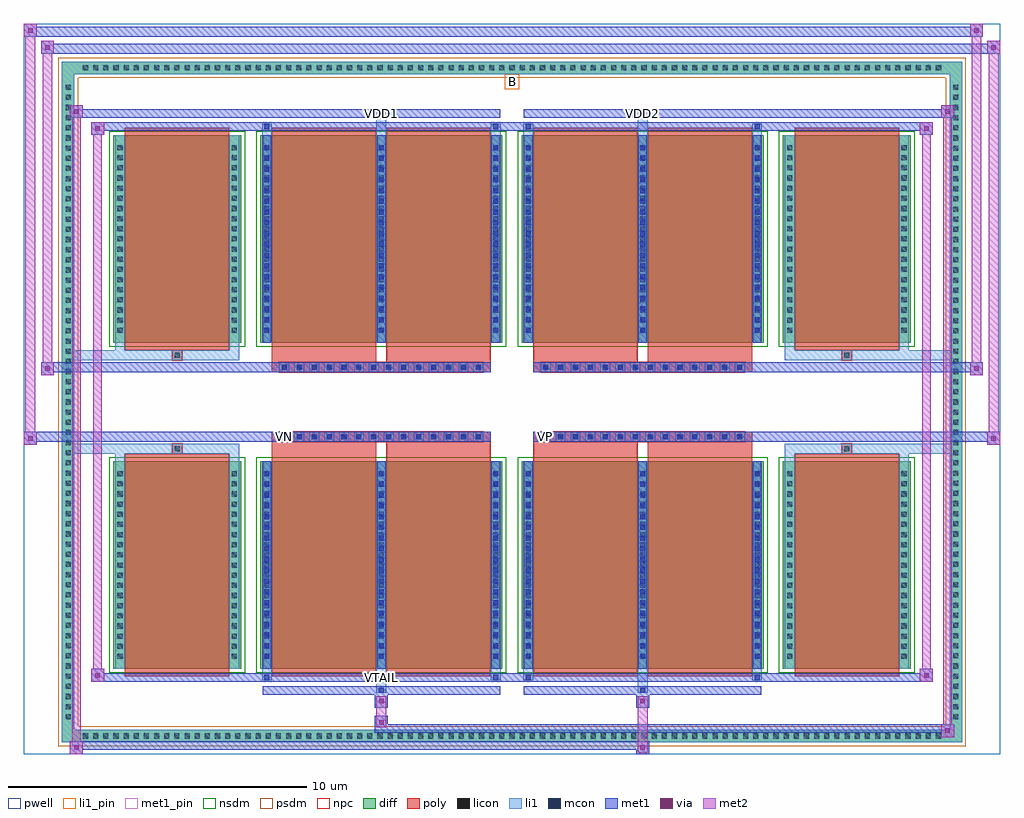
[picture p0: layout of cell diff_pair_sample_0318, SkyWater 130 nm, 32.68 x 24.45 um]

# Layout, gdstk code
import gdstk
lib = gdstk.Library(unit=1e-6, precision=5e-09)
def R(c, l, rs):  # rectangles x0, y0, x1, y1
    for r in rs: c.add(gdstk.rectangle(r[:2], r[2:], *l))
def A(c, l, x, y, w, h, nx, ny, dx, dy):  # array of equal rectangles
    R(c, l, [(x+i*dx, y+j*dy, x+i*dx+w, y+j*dy+h) for i in range(nx) for j in range(ny)])
def P(c, l, *ps):  # polygons
    for p in ps: c.add(gdstk.Polygon(p, *l))
pwell = (64, 44)
diff = (65, 20)
poly = (66, 20)
licon = (66, 44)
li1_pin = (67, 16)
li1 = (67, 20)
mcon = (67, 44)
met1_pin = (68, 16)
met1 = (68, 20)
via = (68, 44)
met2 = (69, 20)
nsdm = (93, 44)
psdm = (94, 20)
npc = (95, 20)

diff_pair_sample_0318 = lib.new_cell('diff_pair_sample_0318')
R(diff_pair_sample_0318, pwell, [(-16.34,-11.79,16.34,12.66), (-13.66,-9.98,-0.01,-0.8), (0.01,-9.98,13.66,-0.8), (-13.66,0.8,-0.01,9.98), (0.01,0.8,13.66,9.98)])
A(diff_pair_sample_0318, diff, -14.485, -11.39, 0.41, 0.41, 85, 2, 0.34, 22.37)
A(diff_pair_sample_0318, diff, -15.07, -10.745, 0.41, 0.41, 1, 63, 0, 0.34)
A(diff_pair_sample_0318, diff, 14.66, -10.745, 0.41, 0.41, 1, 63, 0, 0.34)
R(diff_pair_sample_0318, diff, [(-14.485,-11.39,14.485,-10.98), (-15.07,-10.745,-14.66,10.745), (14.66,-10.745,15.07,10.745), (-13.35,-8.935,-9.07,-1.985), (-8.43,-8.935,-0.32,-1.985), (0.32,-8.935,8.43,-1.985), (9.07,-8.935,13.35,-1.985), (-13.35,1.985,-9.07,8.935), (-8.43,1.985,-0.32,8.935), (0.32,1.985,8.43,8.935), (9.07,1.985,13.35,8.935), (-14.485,10.98,14.485,11.39)])
P(diff_pair_sample_0318, diff, [(15.07,11.39),(-15.07,11.39),(-15.07,-10.98),(-14.66,-10.98),(-14.66,10.98),(14.66,10.98),(14.66,-10.98),(-14.66,-10.98),(-15.07,-10.98),(-15.07,-11.39),(15.07,-11.39)])
A(diff_pair_sample_0318, poly, -7.79, -1.33, 0.33, 0.33, 14, 2, 0.5, 2.33)
A(diff_pair_sample_0318, poly, 0.96, -1.33, 0.33, 0.33, 14, 2, 0.5, 2.33)
R(diff_pair_sample_0318, poly, [(-12.96,-9.185,-9.46,-1.735), (-8.04,-9.185,-4.54,-1.735), (-4.21,-9.185,-0.71,-1.735), (0.71,-9.185,4.21,-1.735), (4.54,-9.185,8.04,-1.735), (9.46,-9.185,12.96,-1.735), (-11.375,-1.735,-11.045,-1.405), (-11.375,-1.735,-11.045,-1.405), (-8.04,-1.735,-4.54,-1.33), (-4.21,-1.735,-0.71,-1.33), (0.71,-1.735,4.21,-1.33), (4.54,-1.735,8.04,-1.33), (11.045,-1.735,11.375,-1.405), (11.045,-1.735,11.375,-1.405), (-8.04,-1.33,-0.71,-1), (0.71,-1.33,8.04,-1), (-8.04,1,-0.71,1.33), (0.71,1,8.04,1.33), (-8.04,1.33,-4.54,1.735), (-4.21,1.33,-0.71,1.735), (0.71,1.33,4.21,1.735), (4.54,1.33,8.04,1.735), (-11.375,1.405,-11.045,1.735), (-11.375,1.405,-11.045,1.735), (11.045,1.405,11.375,1.735), (11.045,1.405,11.375,1.735), (-12.96,1.735,-9.46,9.185), (-8.04,1.735,-4.54,9.185), (-4.21,1.735,-0.71,9.185), (0.71,1.735,4.21,9.185), (4.54,1.735,8.04,9.185), (9.46,1.735,12.96,9.185)])
A(diff_pair_sample_0318, licon, -14.365, -11.27, 0.17, 0.17, 85, 2, 0.34, 22.37)
A(diff_pair_sample_0318, licon, -14.95, -10.625, 0.17, 0.17, 1, 63, 0, 0.34)
A(diff_pair_sample_0318, licon, 14.78, -10.625, 0.17, 0.17, 1, 63, 0, 0.34)
A(diff_pair_sample_0318, licon, -13.21, -8.605, 0.17, 0.17, 1, 19, 0, 0.34)
A(diff_pair_sample_0318, licon, -9.38, -8.605, 0.17, 0.17, 1, 19, 0, 0.34)
A(diff_pair_sample_0318, licon, -8.29, -8.605, 0.17, 0.17, 3, 19, 3.83, 0.34)
A(diff_pair_sample_0318, licon, 0.46, -8.605, 0.17, 0.17, 3, 19, 3.83, 0.34)
A(diff_pair_sample_0318, licon, 9.21, -8.605, 0.17, 0.17, 1, 19, 0, 0.34)
A(diff_pair_sample_0318, licon, 13.04, -8.605, 0.17, 0.17, 1, 19, 0, 0.34)
A(diff_pair_sample_0318, licon, -7.71, -1.25, 0.17, 0.17, 14, 2, 0.5, 2.33)
A(diff_pair_sample_0318, licon, 1.04, -1.25, 0.17, 0.17, 14, 2, 0.5, 2.33)
A(diff_pair_sample_0318, licon, -13.21, 2.315, 0.17, 0.17, 1, 19, 0, 0.34)
A(diff_pair_sample_0318, licon, -9.38, 2.315, 0.17, 0.17, 1, 19, 0, 0.34)
A(diff_pair_sample_0318, licon, -8.29, 2.315, 0.17, 0.17, 3, 19, 3.83, 0.34)
A(diff_pair_sample_0318, licon, 0.46, 2.315, 0.17, 0.17, 3, 19, 3.83, 0.34)
A(diff_pair_sample_0318, licon, 9.21, 2.315, 0.17, 0.17, 1, 19, 0, 0.34)
A(diff_pair_sample_0318, licon, 13.04, 2.315, 0.17, 0.17, 1, 19, 0, 0.34)
R(diff_pair_sample_0318, licon, [(-11.295,-1.655,-11.125,-1.485), (11.125,-1.655,11.295,-1.485), (-11.295,1.485,-11.125,1.655), (11.125,1.485,11.295,1.655)])
R(diff_pair_sample_0318, li1_pin, [(-0.25,10.48,0.25,10.98)])
A(diff_pair_sample_0318, li1, -14.445, -11.35, 0.33, 0.33, 85, 2, 0.34, 22.37)
A(diff_pair_sample_0318, li1, -15.03, -10.705, 0.33, 0.33, 1, 63, 0, 0.34)
A(diff_pair_sample_0318, li1, 14.7, -10.705, 0.33, 0.33, 1, 63, 0, 0.34)
A(diff_pair_sample_0318, li1, -8.37, -8.935, 0.33, 6.95, 3, 2, 3.83, 10.92)
A(diff_pair_sample_0318, li1, 0.38, -8.935, 0.33, 6.95, 3, 2, 3.83, 10.92)
A(diff_pair_sample_0318, li1, -13.29, -8.685, 0.33, 0.33, 1, 19, 0, 0.34)
A(diff_pair_sample_0318, li1, -9.46, -8.685, 0.33, 0.33, 1, 19, 0, 0.34)
A(diff_pair_sample_0318, li1, -8.37, -8.685, 0.33, 0.33, 3, 19, 3.83, 0.34)
A(diff_pair_sample_0318, li1, 0.38, -8.685, 0.33, 0.33, 3, 19, 3.83, 0.34)
A(diff_pair_sample_0318, li1, 9.13, -8.685, 0.33, 0.33, 1, 19, 0, 0.34)
A(diff_pair_sample_0318, li1, 12.96, -8.685, 0.33, 0.33, 1, 19, 0, 0.34)
A(diff_pair_sample_0318, li1, -8.29, -8.605, 0.17, 0.17, 3, 18, 3.83, 0.36)
A(diff_pair_sample_0318, li1, -8.29, -8.605, 0.17, 6.29, 3, 2, 3.83, 10.92)
A(diff_pair_sample_0318, li1, 0.46, -8.605, 0.17, 0.17, 3, 18, 3.83, 0.36)
A(diff_pair_sample_0318, li1, 0.46, -8.605, 0.17, 6.29, 3, 2, 3.83, 10.92)
A(diff_pair_sample_0318, li1, -7.79, -1.33, 0.33, 0.33, 14, 2, 0.5, 2.33)
A(diff_pair_sample_0318, li1, 0.96, -1.33, 0.33, 0.33, 14, 2, 0.5, 2.33)
A(diff_pair_sample_0318, li1, -13.29, 2.235, 0.33, 0.33, 1, 19, 0, 0.34)
A(diff_pair_sample_0318, li1, -9.46, 2.235, 0.33, 0.33, 1, 19, 0, 0.34)
A(diff_pair_sample_0318, li1, -8.37, 2.235, 0.33, 0.33, 3, 19, 3.83, 0.34)
A(diff_pair_sample_0318, li1, 0.38, 2.235, 0.33, 0.33, 3, 19, 3.83, 0.34)
A(diff_pair_sample_0318, li1, 9.13, 2.235, 0.33, 0.33, 1, 19, 0, 0.34)
A(diff_pair_sample_0318, li1, 12.96, 2.235, 0.33, 0.33, 1, 19, 0, 0.34)
A(diff_pair_sample_0318, li1, -8.29, 2.315, 0.17, 0.17, 3, 18, 3.83, 0.36)
A(diff_pair_sample_0318, li1, 0.46, 2.315, 0.17, 0.17, 3, 18, 3.83, 0.36)
R(diff_pair_sample_0318, li1, [(-15.07,-11.39,-14.66,-10.98), (-15.07,-11.39,-14.66,-10.98), (-14.66,-11.39,14.66,-10.98), (14.66,-11.39,15.07,-10.98), (14.66,-11.39,15.07,-10.98), (-15.07,-10.98,-14.66,10.98), (14.66,-10.98,15.07,10.98), (-4.54,-9.74,-4.21,-8.935), (-4.46,-9.74,-4.29,-9.57), (4.21,-9.74,4.54,-8.935), (4.29,-9.74,4.46,-9.57), (-8.37,-9.31,-8.04,-8.935), (-8.29,-9.31,-8.12,-9.14), (-0.71,-9.31,-0.38,-8.935), (-0.63,-9.31,-0.46,-9.14), (0.38,-9.31,0.71,-8.935), (0.46,-9.31,0.63,-9.14), (8.04,-9.31,8.37,-8.935), (8.12,-9.31,8.29,-9.14), (-13.29,-8.935,-12.96,-1.985), (-9.46,-8.935,-9.13,-1.985), (9.13,-8.935,9.46,-1.985), (12.96,-8.935,13.29,-1.985), (-13.29,-1.985,-12.96,-1.405), (-9.46,-1.985,-9.13,-1.405), (9.13,-1.985,9.46,-1.405), (12.96,-1.985,13.29,-1.405), (-15.07,-1.735,-11.375,-1.405), (-13.29,-1.735,-11.375,-1.405), (-11.375,-1.735,-11.045,-1.405), (-11.045,-1.735,-9.13,-1.405), (9.13,-1.735,11.045,-1.405), (11.045,-1.735,11.375,-1.405), (11.045,-1.735,15.07,-1.405), (11.375,-1.735,13.29,-1.405), (-15.07,1.405,-11.375,1.735), (-13.29,1.405,-11.375,1.735), (-13.29,1.405,-12.96,1.985), (-11.375,1.405,-11.045,1.735), (-11.045,1.405,-9.13,1.735), (-9.46,1.405,-9.13,1.985), (9.13,1.405,11.045,1.735), (9.13,1.405,9.46,1.985), (11.045,1.405,11.375,1.735), (11.045,1.405,15.07,1.735), (11.375,1.405,13.29,1.735), (12.96,1.405,13.29,1.985), (-13.29,1.985,-12.96,8.935), (-9.46,1.985,-9.13,8.935), (9.13,1.985,9.46,8.935), (12.96,1.985,13.29,8.935), (-8.37,8.935,-8.04,9.31), (-4.54,8.935,-4.21,9.74), (-0.71,8.935,-0.38,9.31), (0.38,8.935,0.71,9.31), (4.21,8.935,4.54,9.74), (8.04,8.935,8.37,9.31), (-8.29,9.14,-8.12,9.31), (-0.63,9.14,-0.46,9.31), (0.46,9.14,0.63,9.31), (8.12,9.14,8.29,9.31), (-4.46,9.57,-4.29,9.74), (4.29,9.57,4.46,9.74), (-15.07,10.98,-14.66,11.39), (-15.07,10.98,-14.66,11.39), (-14.66,10.98,14.66,11.39), (14.66,10.98,15.07,11.39), (14.66,10.98,15.07,11.39)])
A(diff_pair_sample_0318, mcon, -8.29, -8.605, 0.17, 0.17, 3, 18, 3.83, 0.36)
A(diff_pair_sample_0318, mcon, 0.46, -8.605, 0.17, 0.17, 3, 18, 3.83, 0.36)
A(diff_pair_sample_0318, mcon, -7.71, -1.25, 0.17, 0.17, 14, 2, 0.5, 2.33)
A(diff_pair_sample_0318, mcon, 1.04, -1.25, 0.17, 0.17, 14, 2, 0.5, 2.33)
A(diff_pair_sample_0318, mcon, -8.29, 2.315, 0.17, 0.17, 3, 18, 3.83, 0.36)
A(diff_pair_sample_0318, mcon, 0.46, 2.315, 0.17, 0.17, 3, 18, 3.83, 0.36)
R(diff_pair_sample_0318, mcon, [(-4.46,-9.74,-4.29,-9.57), (4.29,-9.74,4.46,-9.57), (-8.29,-9.31,-8.12,-9.14), (-0.63,-9.31,-0.46,-9.14), (0.46,-9.31,0.63,-9.14), (8.12,-9.31,8.29,-9.14), (-8.29,9.14,-8.12,9.31), (-0.63,9.14,-0.46,9.31), (0.46,9.14,0.63,9.31), (8.12,9.14,8.29,9.31), (-4.46,9.57,-4.29,9.74), (4.29,9.57,4.46,9.74)])
R(diff_pair_sample_0318, met1_pin, [(-4.51,-9.35,-4.24,-9.08), (-7.76,-1.29,-7.49,-1.02), (0.99,-1.29,1.26,-1.02), (-4.51,9.53,-4.24,9.8), (4.24,9.53,4.51,9.8)])
A(diff_pair_sample_0318, met1, -8.35, -8.935, 0.29, 6.95, 3, 2, 3.83, 10.92)
A(diff_pair_sample_0318, met1, 0.4, -8.935, 0.29, 6.95, 3, 2, 3.83, 10.92)
A(diff_pair_sample_0318, met1, -8.35, -8.665, 0.29, 0.29, 3, 18, 3.83, 0.36)
A(diff_pair_sample_0318, met1, 0.4, -8.665, 0.29, 0.29, 3, 18, 3.83, 0.36)
A(diff_pair_sample_0318, met1, -7.77, -1.31, 0.29, 0.29, 14, 2, 0.5, 2.33)
A(diff_pair_sample_0318, met1, 0.98, -1.31, 0.29, 0.29, 14, 2, 0.5, 2.33)
A(diff_pair_sample_0318, met1, -8.35, 2.255, 0.29, 0.29, 3, 18, 3.83, 0.36)
A(diff_pair_sample_0318, met1, 0.4, 2.255, 0.29, 0.29, 3, 18, 3.83, 0.36)
R(diff_pair_sample_0318, met1, [(-14.8,-11.79,-14.37,-11.36), (4.16,-11.79,4.59,-11.36), (-14.8,-11.65,4.59,-11.36), (14.37,-11.22,14.8,-10.79), (-4.59,-11.08,14.8,-10.79), (-4.59,-10.94,-4.16,-10.51), (-4.59,-10.23,-4.16,-9.8), (4.16,-10.23,4.59,-9.8), (-8.35,-9.8,-0.4,-9.51), (-4.52,-9.8,-4.23,-9.51), (0.4,-9.8,8.35,-9.51), (4.23,-9.8,4.52,-9.51), (-14.09,-9.37,-13.66,-8.94), (-14.09,-9.37,-8.35,-9.08), (-8.35,-9.37,-8.06,-9.08), (-8.35,-9.37,-0.4,-9.08), (-0.69,-9.37,-0.4,-9.08), (-0.4,-9.37,0.4,-9.08), (0.4,-9.37,0.69,-9.08), (0.4,-9.37,8.35,-9.08), (8.06,-9.37,8.35,-9.08), (8.35,-9.37,14.09,-9.08), (13.66,-9.37,14.09,-8.94), (-16.34,-1.43,-15.91,-1), (15.91,-1.43,16.34,-1), (-16.34,-1.33,-0.71,-1), (-8.04,-1.33,-0.71,-1), (0.71,-1.33,8.04,-1), (0.71,-1.33,16.34,-1), (-15.77,0.9,-15.34,1.33), (15.34,0.9,15.77,1.33), (-15.77,1,-8.04,1.33), (-8.04,1,-0.71,1.33), (0.71,1,8.04,1.33), (8.04,1,15.77,1.33), (-14.09,8.94,-13.66,9.37), (13.66,8.94,14.09,9.37), (-14.09,9.08,-8.35,9.37), (-8.35,9.08,-8.06,9.37), (-8.35,9.08,-0.4,9.37), (-0.69,9.08,-0.4,9.37), (-0.4,9.08,0.4,9.37), (0.4,9.08,0.69,9.37), (0.4,9.08,8.35,9.37), (8.06,9.08,8.35,9.37), (8.35,9.08,14.09,9.37), (-14.8,9.51,-14.37,9.94), (-14.8,9.51,-8.35,9.8), (-8.35,9.51,-0.4,9.8), (-4.52,9.51,-4.23,9.8), (0.4,9.51,8.35,9.8), (4.23,9.51,4.52,9.8), (8.35,9.51,14.8,9.8), (14.37,9.51,14.8,9.94), (-15.77,11.66,-15.34,12.09), (-15.77,11.66,-13.66,11.99), (-13.66,11.66,13.66,11.99), (13.66,11.66,16.34,11.99), (15.91,11.66,16.34,12.09), (-16.34,12.23,-15.91,12.66), (-16.34,12.23,-13.66,12.56), (-13.66,12.23,13.66,12.56), (13.66,12.23,15.77,12.56), (15.34,12.23,15.77,12.66)])
R(diff_pair_sample_0318, via, [(-14.66,-11.65,-14.51,-11.5), (4.3,-11.65,4.45,-11.5), (14.51,-11.08,14.66,-10.93), (-4.45,-10.8,-4.3,-10.65), (-4.45,-10.09,-4.3,-9.94), (4.3,-10.09,4.45,-9.94), (-13.95,-9.23,-13.8,-9.08), (13.8,-9.23,13.95,-9.08), (-16.2,-1.29,-16.05,-1.14), (16.05,-1.29,16.2,-1.14), (-15.63,1.04,-15.48,1.19), (15.48,1.04,15.63,1.19), (-13.95,9.08,-13.8,9.23), (13.8,9.08,13.95,9.23), (-14.66,9.65,-14.51,9.8), (14.51,9.65,14.66,9.8), (-15.63,11.8,-15.48,11.95), (16.05,11.8,16.2,11.95), (-16.2,12.37,-16.05,12.52), (15.48,12.37,15.63,12.52)])
R(diff_pair_sample_0318, met2, [(-14.8,-11.79,-14.37,-11.36), (-14.73,-11.79,-14.44,9.94), (-14.44,-11.79,-14.37,-11.36), (-14.75,-11.74,-14.42,-11.41), (4.21,-11.74,4.54,-11.41), (4.21,-11.41,4.54,-10.18), (14.37,-11.22,14.8,-10.79), (14.44,-11.22,14.73,9.94), (14.73,-11.22,14.8,-10.79), (14.42,-11.17,14.75,-10.84), (-4.54,-10.89,-4.21,-10.56), (-4.54,-10.56,-4.21,-10.18), (-4.54,-10.18,-4.21,-9.85), (4.21,-10.18,4.54,-9.85), (-14.09,-9.37,-13.66,-8.94), (-14.02,-9.37,-13.73,9.37), (-13.73,-9.37,-13.66,-8.94), (13.66,-9.37,14.09,-8.94), (13.73,-9.37,14.02,9.37), (14.02,-9.37,14.09,-8.94), (-14.04,-9.32,-13.71,-8.99), (13.71,-9.32,14.04,-8.99), (-16.34,-1.43,-15.91,-1), (-16.29,-1.43,-15.96,12.66), (-15.96,-1.43,-15.91,-1), (15.91,-1.43,16.34,-1), (15.96,-1.43,16.29,12.09), (16.29,-1.43,16.34,-1), (-16.29,-1.38,-15.96,-1.05), (15.96,-1.38,16.29,-1.05), (-15.77,0.9,-15.34,1.33), (-15.72,0.9,-15.39,12.09), (-15.39,0.9,-15.34,1.33), (15.34,0.9,15.77,1.33), (15.39,0.9,15.72,12.66), (15.72,0.9,15.77,1.33), (-15.72,0.95,-15.39,1.28), (15.39,0.95,15.72,1.28), (-14.09,8.94,-13.66,9.37), (-13.73,8.94,-13.66,9.37), (13.66,8.94,14.09,9.37), (14.02,8.94,14.09,9.37), (-14.04,8.99,-13.71,9.32), (13.71,8.99,14.04,9.32), (-14.8,9.51,-14.37,9.94), (-14.44,9.51,-14.37,9.94), (14.37,9.51,14.8,9.94), (14.73,9.51,14.8,9.94), (-14.75,9.56,-14.42,9.89), (14.42,9.56,14.75,9.89), (-15.77,11.66,-15.34,12.09), (-15.39,11.66,-15.34,12.09), (15.91,11.66,16.34,12.09), (16.29,11.66,16.34,12.09), (-15.72,11.71,-15.39,12.04), (15.96,11.71,16.29,12.04), (-16.34,12.23,-15.91,12.66), (-15.96,12.23,-15.91,12.66), (15.34,12.23,15.77,12.66), (15.72,12.23,15.77,12.66), (-16.29,12.28,-15.96,12.61), (15.39,12.28,15.72,12.61)])
R(diff_pair_sample_0318, nsdm, [(-13.48,-9.065,-8.94,-1.855), (-8.56,-9.065,-0.19,-1.855), (0.19,-9.065,8.56,-1.855), (8.94,-9.065,13.48,-1.855), (-13.48,1.855,-8.94,9.065), (-8.56,1.855,-0.19,9.065), (0.19,1.855,8.56,9.065), (8.94,1.855,13.48,9.065)])
P(diff_pair_sample_0318, psdm, [(15.2,11.52),(-15.2,11.52),(-15.2,-10.85),(-14.53,-10.85),(-14.53,10.85),(14.53,10.85),(14.53,-10.85),(-14.53,-10.85),(-15.2,-10.85),(-15.2,-11.52),(15.2,-11.52)])
A(diff_pair_sample_0318, npc, -7.81, -1.35, 0.37, 0.37, 14, 2, 0.5, 2.33)
A(diff_pair_sample_0318, npc, 0.94, -1.35, 0.37, 0.37, 14, 2, 0.5, 2.33)
R(diff_pair_sample_0318, npc, [(-11.395,-1.755,-11.025,-1.385), (11.025,-1.755,11.395,-1.385), (-7.81,-1.35,-6.94,-0.98), (-7.81,-1.35,-6.94,-0.98), (-7.31,-1.35,-6.44,-0.98), (-7.31,-1.35,-6.44,-0.98), (-6.81,-1.35,-5.94,-0.98), (-6.81,-1.35,-5.94,-0.98), (-6.31,-1.35,-5.44,-0.98), (-6.31,-1.35,-5.44,-0.98), (-5.81,-1.35,-4.94,-0.98), (-5.81,-1.35,-4.94,-0.98), (-5.31,-1.35,-4.44,-0.98), (-5.31,-1.35,-4.44,-0.98), (-4.81,-1.35,-3.94,-0.98), (-4.81,-1.35,-3.94,-0.98), (-4.31,-1.35,-3.44,-0.98), (-4.31,-1.35,-3.44,-0.98), (-3.81,-1.35,-2.94,-0.98), (-3.81,-1.35,-2.94,-0.98), (-3.31,-1.35,-2.44,-0.98), (-3.31,-1.35,-2.44,-0.98), (-2.81,-1.35,-1.94,-0.98), (-2.81,-1.35,-1.94,-0.98), (-2.31,-1.35,-1.44,-0.98), (-2.31,-1.35,-1.44,-0.98), (-1.81,-1.35,-0.94,-0.98), (-1.81,-1.35,-0.94,-0.98), (0.94,-1.35,1.81,-0.98), (0.94,-1.35,1.81,-0.98), (1.44,-1.35,2.31,-0.98), (1.44,-1.35,2.31,-0.98), (1.94,-1.35,2.81,-0.98), (1.94,-1.35,2.81,-0.98), (2.44,-1.35,3.31,-0.98), (2.44,-1.35,3.31,-0.98), (2.94,-1.35,3.81,-0.98), (2.94,-1.35,3.81,-0.98), (3.44,-1.35,4.31,-0.98), (3.44,-1.35,4.31,-0.98), (3.94,-1.35,4.81,-0.98), (3.94,-1.35,4.81,-0.98), (4.44,-1.35,5.31,-0.98), (4.44,-1.35,5.31,-0.98), (4.94,-1.35,5.81,-0.98), (4.94,-1.35,5.81,-0.98), (5.44,-1.35,6.31,-0.98), (5.44,-1.35,6.31,-0.98), (5.94,-1.35,6.81,-0.98), (5.94,-1.35,6.81,-0.98), (6.44,-1.35,7.31,-0.98), (6.44,-1.35,7.31,-0.98), (6.94,-1.35,7.81,-0.98), (6.94,-1.35,7.81,-0.98), (-7.81,0.98,-6.94,1.35), (-7.81,0.98,-6.94,1.35), (-7.31,0.98,-6.44,1.35), (-7.31,0.98,-6.44,1.35), (-6.81,0.98,-5.94,1.35), (-6.81,0.98,-5.94,1.35), (-6.31,0.98,-5.44,1.35), (-6.31,0.98,-5.44,1.35), (-5.81,0.98,-4.94,1.35), (-5.81,0.98,-4.94,1.35), (-5.31,0.98,-4.44,1.35), (-5.31,0.98,-4.44,1.35), (-4.81,0.98,-3.94,1.35), (-4.81,0.98,-3.94,1.35), (-4.31,0.98,-3.44,1.35), (-4.31,0.98,-3.44,1.35), (-3.81,0.98,-2.94,1.35), (-3.81,0.98,-2.94,1.35), (-3.31,0.98,-2.44,1.35), (-3.31,0.98,-2.44,1.35), (-2.81,0.98,-1.94,1.35), (-2.81,0.98,-1.94,1.35), (-2.31,0.98,-1.44,1.35), (-2.31,0.98,-1.44,1.35), (-1.81,0.98,-0.94,1.35), (-1.81,0.98,-0.94,1.35), (0.94,0.98,1.81,1.35), (0.94,0.98,1.81,1.35), (1.44,0.98,2.31,1.35), (1.44,0.98,2.31,1.35), (1.94,0.98,2.81,1.35), (1.94,0.98,2.81,1.35), (2.44,0.98,3.31,1.35), (2.44,0.98,3.31,1.35), (2.94,0.98,3.81,1.35), (2.94,0.98,3.81,1.35), (3.44,0.98,4.31,1.35), (3.44,0.98,4.31,1.35), (3.94,0.98,4.81,1.35), (3.94,0.98,4.81,1.35), (4.44,0.98,5.31,1.35), (4.44,0.98,5.31,1.35), (4.94,0.98,5.81,1.35), (4.94,0.98,5.81,1.35), (5.44,0.98,6.31,1.35), (5.44,0.98,6.31,1.35), (5.94,0.98,6.81,1.35), (5.94,0.98,6.81,1.35), (6.44,0.98,7.31,1.35), (6.44,0.98,7.31,1.35), (6.94,0.98,7.81,1.35), (6.94,0.98,7.81,1.35), (-11.395,1.385,-11.025,1.755), (11.025,1.385,11.395,1.755)])
diff_pair_sample_0318.add(gdstk.Label('VTAIL', (-4.375,-9.215), layer=68, texttype=5))
diff_pair_sample_0318.add(gdstk.Label('VN', (-7.625,-1.155), layer=68, texttype=5))
diff_pair_sample_0318.add(gdstk.Label('VP', (1.125,-1.155), layer=68, texttype=5))
diff_pair_sample_0318.add(gdstk.Label('B', (0,10.73), layer=67, texttype=5))
diff_pair_sample_0318.add(gdstk.Label('VDD2', (4.375,9.665), layer=68, texttype=5))
diff_pair_sample_0318.add(gdstk.Label('VDD1', (-4.375,9.665), layer=68, texttype=5))

lib.write_gds('diff_pair_sample_0318.gds')
